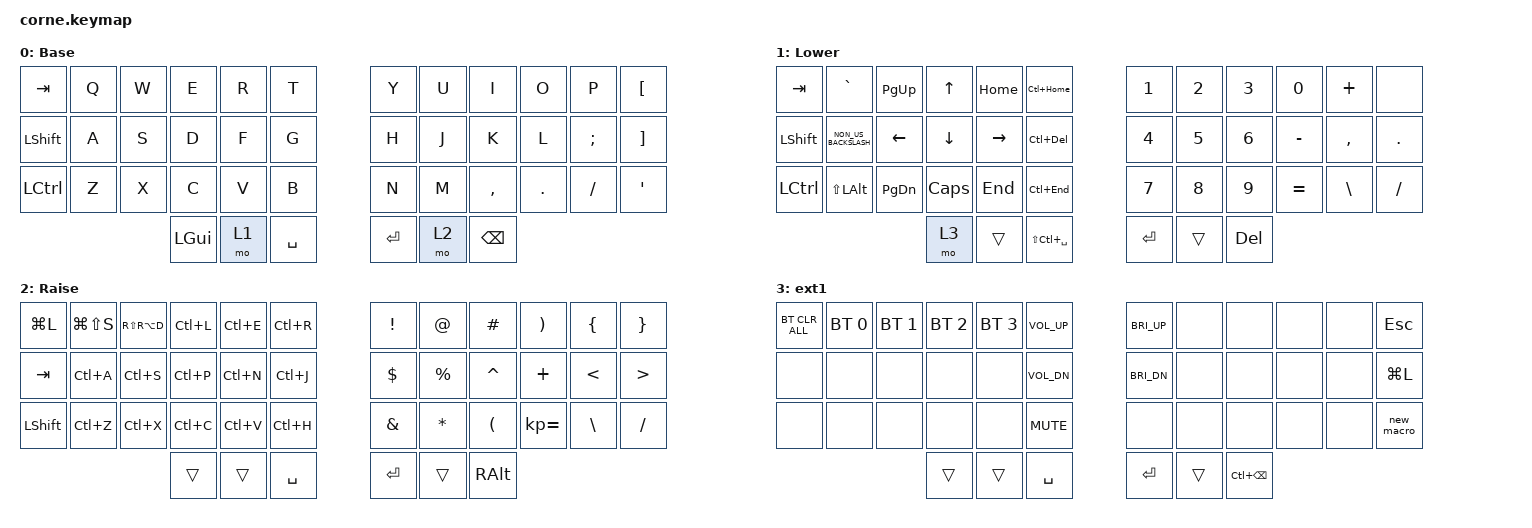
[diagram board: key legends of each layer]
/*
 * Copyright (c) 2020 The ZMK Contributors
 *
 * SPDX-License-Identifier: MIT
 */

#include <behaviors.dtsi>
#include <dt-bindings/zmk/bt.h>
#include <dt-bindings/zmk/keys.h>

#define ZMK_UNICODE_ENABLE

/ {
    macros {
        new_macro: new_macro {
            compatible = "zmk,behavior-macro";
            #binding-cells = <0>;
            bindings = <&kp LC(LEFT_SHIFT) &kp EXCL &kp LS(Q) &kp LS(A) &kp LS(Z) &kp X &kp S &kp W &kp N2 &kp N7>;
            label = "NEW_MACRO";
        };
    };

    combos {
        compatible = "zmk,combos";

        L_Sh {
            bindings = <&kp LEFT_SHIFT>;
            key-positions = <15 16>;
        };

        R_Sh {
            bindings = <&kp RIGHT_SHIFT>;
            key-positions = <19 20>;
        };
    };

    keymap {
        compatible = "zmk,keymap";

        default_layer {
            // -----------------------------------------------------------------------------------------
            // |  TAB |  Q  |  W  |  E  |  R  |  T  |   |  Y  |  U   |  I  |  O  |  P  | BKSP |
            // | CTRL |  A  |  S  |  D  |  F  |  G  |   |  H  |  J   |  K  |  L  |  ;  |  '   |
            // | SHFT |  Z  |  X  |  C  |  V  |  B  |   |  N  |  M   |  ,  |  .  |  /  | ESC  |
            //                    | GUI | LWR | SPC |   | ENT | RSE  | ALT |

            display-name = "Base";
            bindings = <
&kp TAB         &kp Q  &kp W  &kp E     &kp R  &kp T        &kp Y    &kp U  &kp I          &kp O    &kp P     &kp LEFT_BRACKET
&kp LEFT_SHIFT  &kp A  &kp S  &kp D     &kp F  &kp G        &kp H    &kp J  &kp K          &kp L    &kp SEMI  &kp RIGHT_BRACKET
&kp LCTRL       &kp Z  &kp X  &kp C     &kp V  &kp B        &kp N    &kp M  &kp COMMA      &kp DOT  &kp FSLH  &kp SQT
                              &kp LGUI  &mo 1  &kp SPACE    &kp RET  &mo 2  &kp BACKSPACE
            >;
        };

        lower_layer {
            // -----------------------------------------------------------------------------------------
            // |  TAB |  1  |  2  |  3  |  4  |  5  |   |  6  |  7  |  8  |  9  |  0  | BKSP |
            // | BTCLR| BT1 | BT2 | BT3 | BT4 | BT5 |   | LFT | DWN |  UP | RGT |     |      |
            // | SHFT |     |     |     |     |     |   |     |     |     |     |     |      |
            //                    | GUI |     | SPC |   | ENT |     | ALT |

            display-name = "Lower";
            bindings = <
&kp TAB           &kp GRAVE             &kp PAGE_UP     &kp UP_ARROW    &kp HOME         &kp LC(HOME)         &kp NUMBER_1  &kp NUMBER_2  &kp NUMBER_3  &kp NUMBER_0  &kp PLUS       &none
&kp LEFT_SHIFT    &kp NON_US_BACKSLASH  &kp LEFT_ARROW  &kp DOWN_ARROW  &kp RIGHT_ARROW  &kp LC(DELETE)       &kp NUMBER_4  &kp NUMBER_5  &kp NUMBER_6  &kp MINUS     &kp COMMA      &kp DOT
&kp LEFT_CONTROL  &kp LS(LEFT_ALT)      &kp PAGE_DOWN   &kp CAPSLOCK    &kp END          &kp LC(END)          &kp NUMBER_7  &kp NUMBER_8  &kp NUMBER_9  &kp EQUAL     &kp BACKSLASH  &kp SLASH
                                                        &mo 3           &trans           &kp LS(LC(SPACE))    &kp RET       &trans        &kp DELETE
            >;
        };

        raise_layer {
            // -----------------------------------------------------------------------------------------
            // |  TAB |  !  |  @  |  #  |  $  |  %  |   |  ^  |  &  |  *  |  (  |  )  | BKSP |
            // | CTRL |     |     |     |     |     |   |  -  |  =  |  [  |  ]  |  \  |  `   |
            // | SHFT |     |     |     |     |     |   |  _  |  +  |  {  |  }  | "|" |  ~   |
            //                    | GUI |     | SPC |   | ENT |     | ALT |

            display-name = "Raise";
            bindings = <
&kp LG(L)  &kp LG(LS(S))  &kp RS(RA(D))  &kp LC(L)  &kp LC(E)  &kp LC(R)    &kp EXCLAMATION  &kp AT_SIGN   &kp HASH              &kp RIGHT_PARENTHESIS  &kp LEFT_BRACE  &kp RIGHT_BRACE
&kp TAB    &kp LC(A)      &kp LC(S)      &kp LC(P)  &kp LC(N)  &kp LC(J)    &kp DOLLAR       &kp PERCENT   &kp CARET             &kp PLUS               &kp LESS_THAN   &kp GREATER_THAN
&kp LSHFT  &kp LC(Z)      &kp LC(X)      &kp LC(C)  &kp LC(V)  &kp LC(H)    &kp AMPERSAND    &kp ASTERISK  &kp LEFT_PARENTHESIS  &kp KP_EQUAL           &kp BACKSLASH   &kp SLASH
                                         &trans     &trans     &kp SPACE    &kp RET          &trans        &kp RALT
            >;
        };

        extra_1 {
            // -----------------------------------------------------------------------------------------
            // |  TAB |  !  |  @  |  #  |  $  |  %  |   |  ^  |  &  |  *  |  (  |  )  | BKSP |
            // | CTRL |     |     |     |     |     |   |  -  |  =  |  [  |  ]  |  \  |  `   |
            // | SHFT |     |     |     |     |     |   |  _  |  +  |  {  |  }  | "|" |  ~   |
            //                    | GUI |     | SPC |   | ENT |     | ALT |

            display-name = "ext1";
            bindings = <
&bt BT_CLR_ALL  &bt BT_SEL 0  &bt BT_SEL 1  &bt BT_SEL 2  &bt BT_SEL 3  &kp C_VOL_UP    &kp C_BRI_UP  &none   &none              &none  &none  &kp ESC
&none           &none         &none         &none         &none         &kp C_VOL_DN    &kp C_BRI_DN  &none   &none              &none  &none  &kp LG(L)
&none           &none         &none         &none         &none         &kp C_MUTE      &none         &none   &none              &none  &none  &new_macro
                                            &trans        &trans        &kp SPACE       &kp RET       &trans  &kp LC(BACKSPACE)
            >;
        };
    };
};
